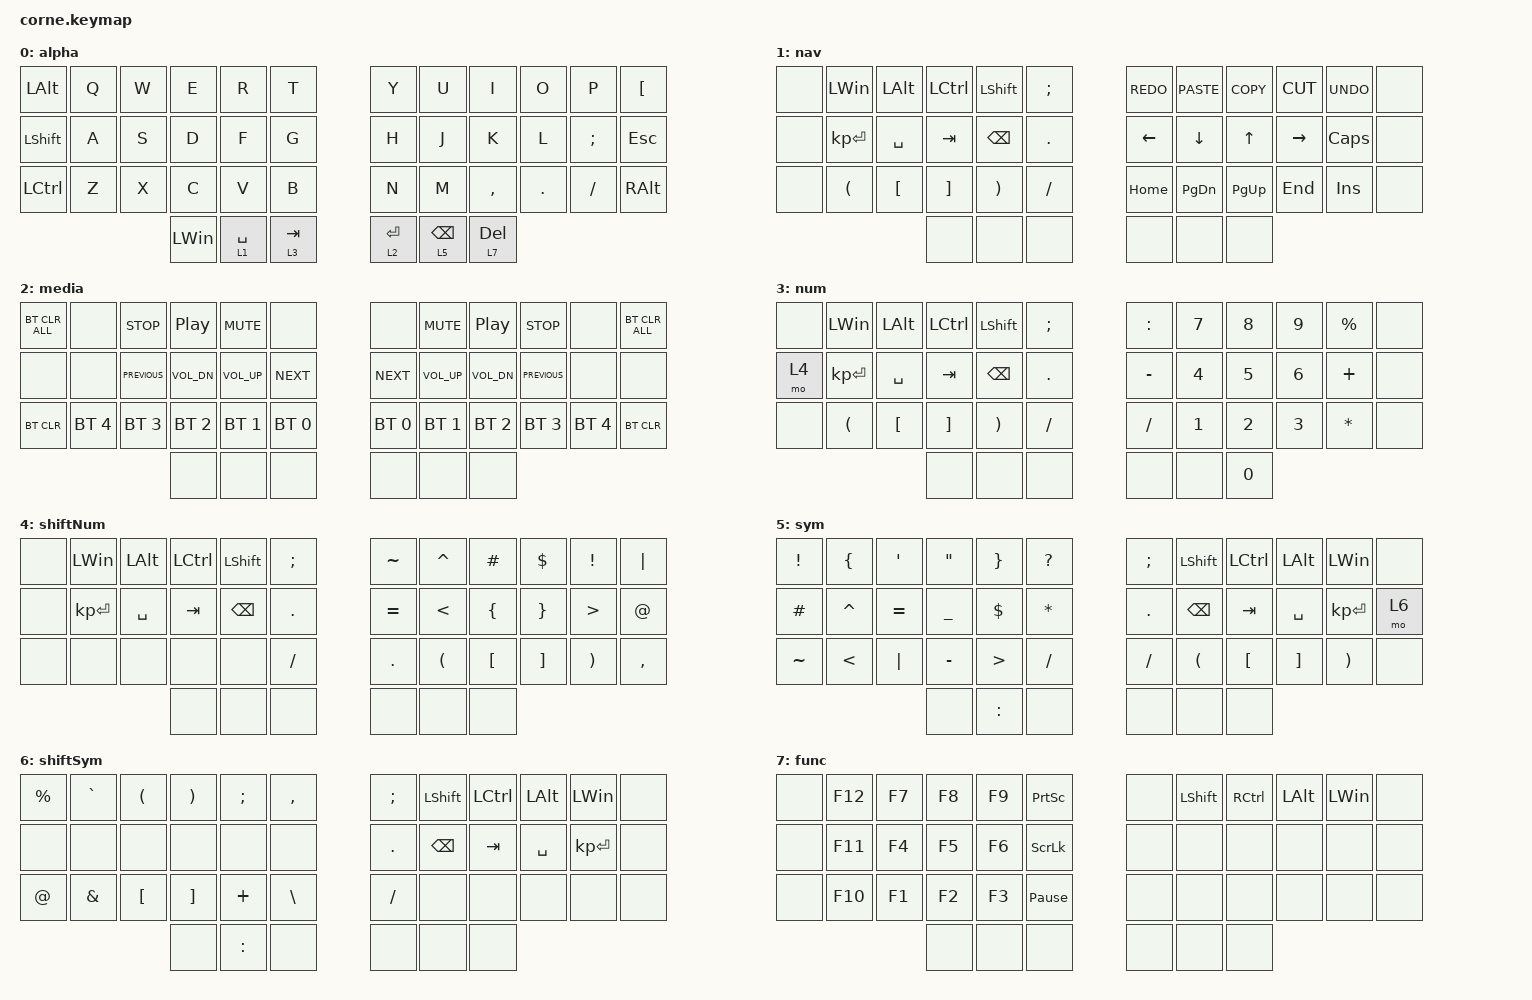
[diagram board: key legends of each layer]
/*
 * Copyright (c) 2020 The ZMK Contributors
 *
 * SPDX-License-Identifier: MIT
 */

#include <behaviors.dtsi>
#include <dt-bindings/zmk/bt.h>
#include <dt-bindings/zmk/keys.h>

/ {
    keymap {
        compatible = "zmk,keymap";

        alpha {
            // -----------------------------------------------------------------------------------------
            // |  TAB |  Q  |  W  |  E  |  R  |  T  |   |  Y  |  U   |  I  |  O  |  P  | BKSP |
            // | CTRL |  A  |  S  |  D  |  F  |  G  |   |  H  |  J   |  K  |  L  |  ;  |  '   |
            // | SHFT |  Z  |  X  |  C  |  V  |  B  |   |  N  |  M   |  ,  |  .  |  /  | ESC  |
            //                    | GUI | LWR | SPC |   | ENT | RSE  | ALT |

            bindings = <
&kp LEFT_ALT    &kp Q  &kp W  &kp E         &kp R        &kp T        &kp Y        &kp U            &kp I         &kp O    &kp P     &kp LEFT_BRACKET
&kp LEFT_SHIFT  &kp A  &kp S  &kp D         &kp F        &kp G        &kp H        &kp J            &kp K         &kp L    &kp SEMI  &kp ESCAPE
&kp LCTRL       &kp Z  &kp X  &kp C         &kp V        &kp B        &kp N        &kp M            &kp COMMA     &kp DOT  &kp FSLH  &kp RIGHT_ALT
                              &kp LEFT_WIN  &lt 1 SPACE  &lt 3 TAB    &lt 2 ENTER  &lt 5 BACKSPACE  &lt 7 DELETE
            >;
        };

        nav {
            bindings = <
&none  &kp LEFT_WIN          &kp LEFT_ALT      &kp LCTRL          &kp LEFT_SHIFT         &kp SEMICOLON    &kp K_REDO  &kp K_PASTE     &kp K_COPY    &kp K_CUT        &kp K_UNDO    &none
&none  &kp KP_ENTER          &kp SPACE         &kp TAB            &kp BACKSPACE          &kp PERIOD       &kp LEFT    &kp DOWN_ARROW  &kp UP_ARROW  &kp RIGHT_ARROW  &kp CAPSLOCK  &none
&none  &kp LEFT_PARENTHESIS  &kp LEFT_BRACKET  &kp RIGHT_BRACKET  &kp RIGHT_PARENTHESIS  &kp SLASH        &kp HOME    &kp PAGE_DOWN   &kp PAGE_UP   &kp END          &kp INSERT    &none
                                               &none              &none                  &none            &none       &none           &none
            >;
        };

        media {
            bindings = <
&bt BT_CLR_ALL  &none         &kp C_STOP      &kp C_PLAY_PAUSE  &kp C_MUTE       &none           &none         &kp C_MUTE    &kp C_PLAY_PAUSE  &kp C_STOP      &none         &bt BT_CLR_ALL
&none           &none         &kp C_PREVIOUS  &kp C_VOL_DN      &kp C_VOLUME_UP  &kp C_NEXT      &kp C_NEXT    &kp C_VOLUME_UP  &kp C_VOL_DN   &kp C_PREVIOUS  &none         &none
&bt BT_CLR      &bt BT_SEL 4  &bt BT_SEL 3    &bt BT_SEL 2      &bt BT_SEL 1     &bt BT_SEL 0    &bt BT_SEL 0  &bt BT_SEL 1  &bt BT_SEL 2      &bt BT_SEL 3    &bt BT_SEL 4  &bt BT_CLR
                                              &none             &none            &none           &none         &none         &none
            >;
        };

        num {
            bindings = <
&none  &kp LEFT_WIN          &kp LEFT_ALT      &kp LCTRL          &kp LEFT_SHIFT         &kp SEMICOLON    &kp COLON  &kp NUMBER_7  &kp NUMBER_8  &kp NUMBER_9  &kp PERCENT   &none
&mo 4  &kp KP_ENTER          &kp SPACE         &kp TAB            &kp BACKSPACE          &kp PERIOD       &kp MINUS  &kp NUMBER_4  &kp NUMBER_5  &kp NUMBER_6  &kp PLUS      &none
&none  &kp LEFT_PARENTHESIS  &kp LEFT_BRACKET  &kp RIGHT_BRACKET  &kp RIGHT_PARENTHESIS  &kp SLASH        &kp SLASH  &kp NUMBER_1  &kp NUMBER_2  &kp NUMBER_3  &kp ASTERISK  &none
                                               &none              &none                  &none            &none      &none         &kp NUMBER_0
            >;
        };

        shiftNum {
            bindings = <
&none  &kp LEFT_WIN  &kp LEFT_ALT  &kp LCTRL  &kp LEFT_SHIFT  &kp SEMICOLON    &kp TILDE   &kp CARET             &kp HASH          &kp DOLLAR         &kp EXCLAMATION        &kp PIPE
&none  &kp KP_ENTER  &kp SPACE     &kp TAB    &kp BACKSPACE   &kp PERIOD       &kp EQUAL   &kp LESS_THAN         &kp LEFT_BRACE    &kp RIGHT_BRACE    &kp GREATER_THAN       &kp AT_SIGN
&none  &none         &none         &none      &none           &kp SLASH        &kp PERIOD  &kp LEFT_PARENTHESIS  &kp LEFT_BRACKET  &kp RIGHT_BRACKET  &kp RIGHT_PARENTHESIS  &kp COMMA
                                   &none      &none           &none            &none       &none                 &none
            >;
        };

        sym {
            bindings = <
&kp EXCLAMATION  &kp LEFT_BRACE  &kp SQT    &kp DOUBLE_QUOTES  &kp RIGHT_BRACE   &kp QUESTION    &kp SEMICOLON  &kp LEFT_SHIFT        &kp LCTRL         &kp LEFT_ALT       &kp LEFT_WIN           &none
&kp HASH         &kp CARET       &kp EQUAL  &kp UNDERSCORE     &kp DOLLAR        &kp ASTERISK    &kp PERIOD     &kp BACKSPACE         &kp TAB           &kp SPACE          &kp KP_ENTER           &mo 6
&kp TILDE        &kp LESS_THAN   &kp PIPE   &kp MINUS          &kp GREATER_THAN  &kp SLASH       &kp SLASH      &kp LEFT_PARENTHESIS  &kp LEFT_BRACKET  &kp RIGHT_BRACKET  &kp RIGHT_PARENTHESIS  &none
                                            &none              &kp COLON         &none           &none          &none                 &none
            >;
        };

        shiftSym {
            bindings = <
&kp PERCENT  &kp GRAVE      &kp LEFT_PARENTHESIS  &kp RIGHT_PARENTHESIS  &kp SEMICOLON  &kp COMMA        &kp SEMICOLON  &kp LEFT_SHIFT  &kp LCTRL  &kp LEFT_ALT  &kp LEFT_WIN  &none
&none        &none          &none                 &none                  &none          &none            &kp PERIOD     &kp BACKSPACE   &kp TAB    &kp SPACE     &kp KP_ENTER  &none
&kp AT_SIGN  &kp AMPERSAND  &kp LEFT_BRACKET      &kp RIGHT_BRACKET      &kp PLUS       &kp BACKSLASH    &kp SLASH      &none           &none      &none         &none         &none
                                                  &none                  &kp COLON      &none            &none          &none           &none
            >;
        };

        func {
            bindings = <
&none  &kp F12  &kp F7  &kp F8  &kp F9  &kp PRINTSCREEN    &none  &kp LEFT_SHIFT  &kp RCTRL  &kp LEFT_ALT  &kp LEFT_WIN  &none
&none  &kp F11  &kp F4  &kp F5  &kp F6  &kp SCROLLLOCK     &none  &none           &none      &none         &none         &none
&none  &kp F10  &kp F1  &kp F2  &kp F3  &kp PAUSE_BREAK    &none  &none           &none      &none         &none         &none
                        &none   &none   &none              &none  &none           &none
            >;
        };
    };
};

